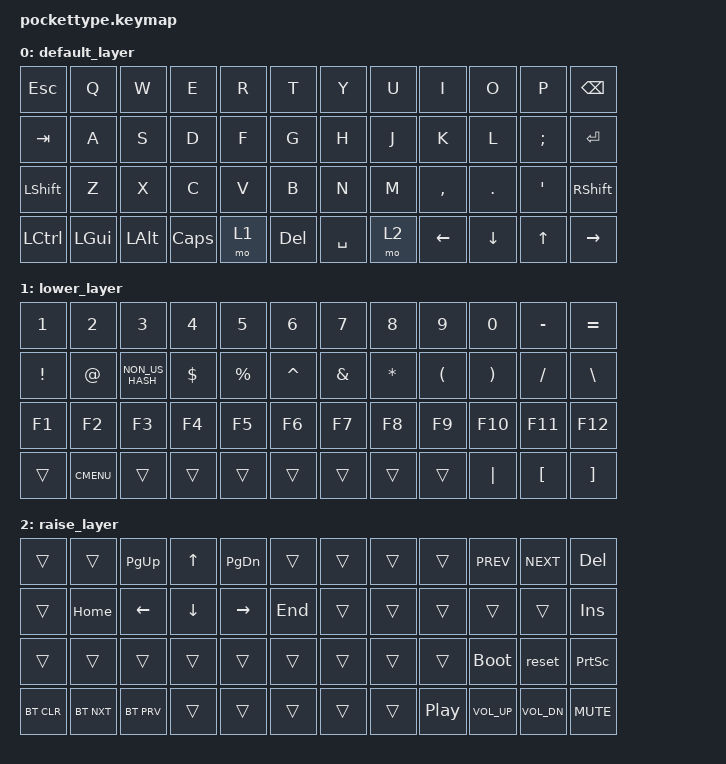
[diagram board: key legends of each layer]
/*
 * Copyright (c) 2020 The ZMK Contributors
 *
 * SPDX-License-Identifier: MIT
 */

#include <behaviors.dtsi>
#include <dt-bindings/zmk/keys.h>
#include <dt-bindings/zmk/bt.h>

/ {
	keymap {
		compatible = "zmk,keymap";
		
		default_layer {
			bindings = <
				&kp ESC    &kp Q     &kp W     &kp E     &kp R  &kp T       &kp Y      &kp U  &kp I      &kp O     &kp P             &kp BSPC
				&kp TAB    &kp A     &kp S     &kp D     &kp F  &kp G       &kp H      &kp J  &kp K      &kp L     &kp SEMICOLON     &kp ENTER
				&kp LSHFT  &kp Z     &kp X     &kp C     &kp V  &kp B       &kp N      &kp M  &kp COMMA  &kp DOT   &kp SINGLE_QUOTE  &kp RSHFT
				&kp LCTRL  &kp LGUI  &kp LALT  &kp CAPS  &mo 1  &kp DELETE  &kp SPACE  &mo 2  &kp LEFT   &kp DOWN  &kp UP            &kp RIGHT
			>;
		};

		lower_layer {
			bindings = <
				&kp N1    &kp N2       &kp N3           &kp N4    &kp N5     &kp N6     &kp N7    &kp N8     &kp N9    &kp N0    &kp MINUS  &kp EQUAL
				&kp EXCL  &kp AT       &kp NON_US_HASH  &kp DLLR  &kp PRCNT  &kp CARET  &kp AMPS  &kp ASTRK  &kp LPAR  &kp RPAR  &kp FSLH   &kp BSLH
				&kp F1    &kp F2       &kp F3           &kp F4    &kp F5     &kp F6     &kp F7    &kp F8     &kp F9    &kp F10   &kp F11    &kp F12
				&trans    &kp K_CMENU  &trans           &trans    &trans     &trans     &trans    &trans     &trans    &kp PIPE  &kp LBKT   &kp RBKT
			>;
		};

		raise_layer {
			bindings = <
				&trans      &trans      &kp PG_UP   &kp UP    &kp PG_DN  &trans   &trans  &trans  &trans            &kp C_PREV     &kp C_NEXT    &kp DEL
				&trans      &kp HOME    &kp LEFT    &kp DOWN  &kp RIGHT  &kp END  &trans  &trans  &trans            &trans         &trans        &kp INSERT
				&trans      &trans      &trans      &trans    &trans     &trans   &trans  &trans  &trans            &bootloader    &reset        &kp PSCRN
				&bt BT_CLR  &bt BT_NXT  &bt BT_PRV  &trans    &trans     &trans   &trans  &trans  &kp C_PLAY_PAUSE  &kp C_VOL_UP   &kp C_VOL_DN  &kp C_MUTE
			>;
		};
	};
};
